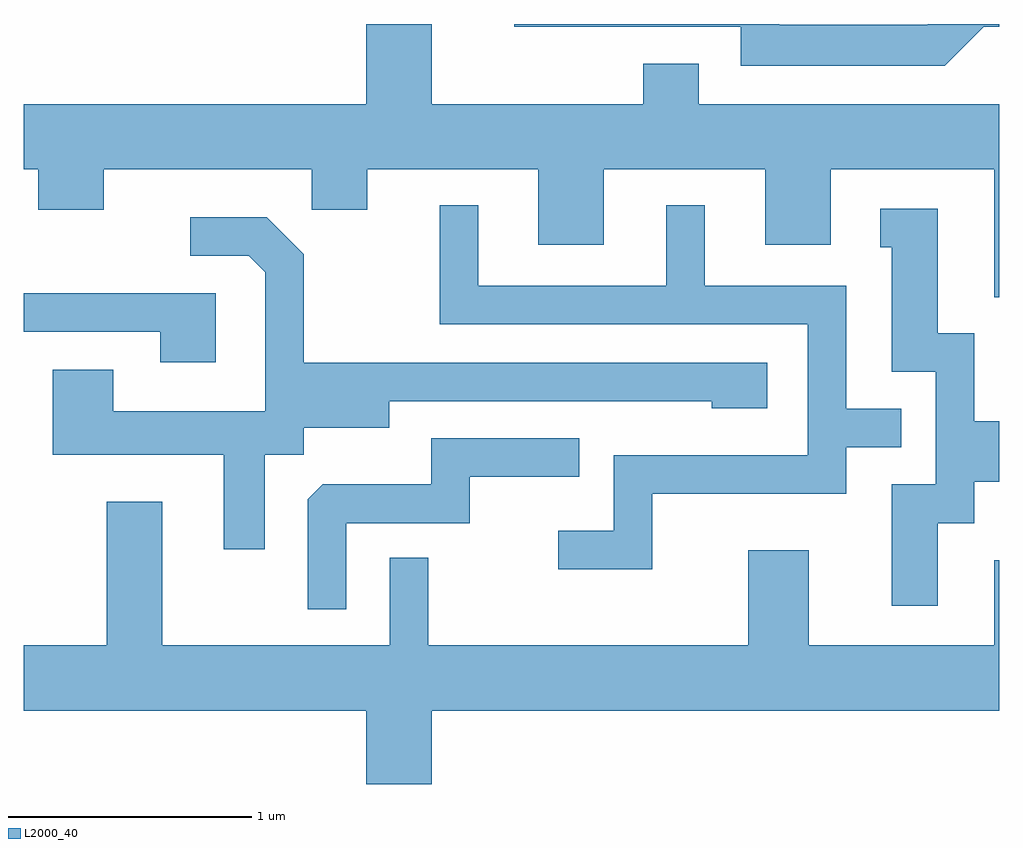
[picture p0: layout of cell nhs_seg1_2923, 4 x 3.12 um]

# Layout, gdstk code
import gdstk
lib = gdstk.Library(unit=1e-6, precision=1e-09)
def P(c, l, *ps):  # polygons
    for p in ps: c.add(gdstk.Polygon(p, *l))
L2000_40 = (2000, 40)

nhs_seg1_2923 = lib.new_cell('nhs_seg1_2923')
P(nhs_seg1_2923, L2000_40, [(277.611,915.384),(276.379,915.384),(276.379,915.549),(276.151,915.549),(276.151,915.384),(275.284,915.384),(275.284,915.712),(275.016,915.712),(275.016,915.384),(273.611,915.384),(273.611,915.116),(273.671,915.116),(273.671,914.951),(273.939,914.951),(273.939,915.116),(274.791,915.116),(274.791,914.951),(275.019,914.951),(275.019,915.116),(275.721,915.116),(275.721,914.806),(275.989,914.806),(275.989,915.116),(276.651,915.116),(276.651,914.806),(276.919,914.806),(276.919,915.116),(277.591,915.116),(277.591,914.591),(277.611,914.591)],
  [(277.547,915.701),(277.611,915.701),(277.611,915.712),(277.317,915.712),(277.314,915.709),(276.709,915.709),(276.709,915.712),(275.623,915.712),(275.623,915.701),(276.551,915.701),(276.551,915.541),(277.387,915.541)],
  [(276.189,913.786),(276.984,913.786),(276.984,913.976),(277.208,913.976),(277.208,914.134),(276.984,914.134),(276.984,914.639),(276.404,914.639),(276.404,914.968),(276.246,914.968),(276.246,914.639),(275.474,914.639),(275.474,914.968),(275.316,914.968),(275.316,914.481),(276.826,914.481),(276.826,913.944),(276.031,913.944),(276.031,913.634),(275.803,913.634),(275.803,913.476),(276.189,913.476)],
  [(277.359,913.666),(277.509,913.666),(277.509,913.836),(277.611,913.836),(277.611,914.084),(277.509,914.084),(277.509,914.444),(277.359,914.444),(277.359,914.954),(277.123,914.954),(277.123,914.796),(277.171,914.796),(277.171,914.286),(277.351,914.286),(277.351,913.824),(277.171,913.824),(277.171,913.326),(277.359,913.326)],
  [(274.599,913.946),(274.759,913.946),(274.759,914.056),(275.109,914.056),(275.109,914.166),(276.431,914.166),(276.431,914.136),(276.659,914.136),(276.659,914.324),(274.759,914.324),(274.759,914.767),(274.607,914.919),(274.293,914.919),(274.293,914.761),(274.534,914.761),(274.601,914.694),(274.601,914.124),(273.979,914.124),(273.979,914.294),(273.731,914.294),(273.731,913.946),(274.431,913.946),(274.431,913.558),(274.599,913.558)],
  [(274.399,914.609),(273.611,914.609),(273.611,914.451),(274.171,914.451),(274.171,914.326),(274.399,914.326)],
  [(274.934,913.666),(275.439,913.666),(275.439,913.856),(275.888,913.856),(275.888,914.014),(275.281,914.014),(275.281,913.824),(274.837,913.824),(274.776,913.764),(274.776,913.313),(274.934,913.313)],
  [(275.284,912.896),(277.611,912.896),(277.611,913.514),(277.591,913.514),(277.591,913.164),(276.829,913.164),(276.829,913.554),(276.581,913.554),(276.581,913.164),(275.269,913.164),(275.269,913.523),(275.111,913.523),(275.111,913.164),(274.179,913.164),(274.179,913.754),(273.951,913.754),(273.951,913.164),(273.611,913.164),(273.611,912.896),(275.016,912.896),(275.016,912.596),(275.284,912.596)])

lib.write_gds('nhs_seg1_2923.gds')
